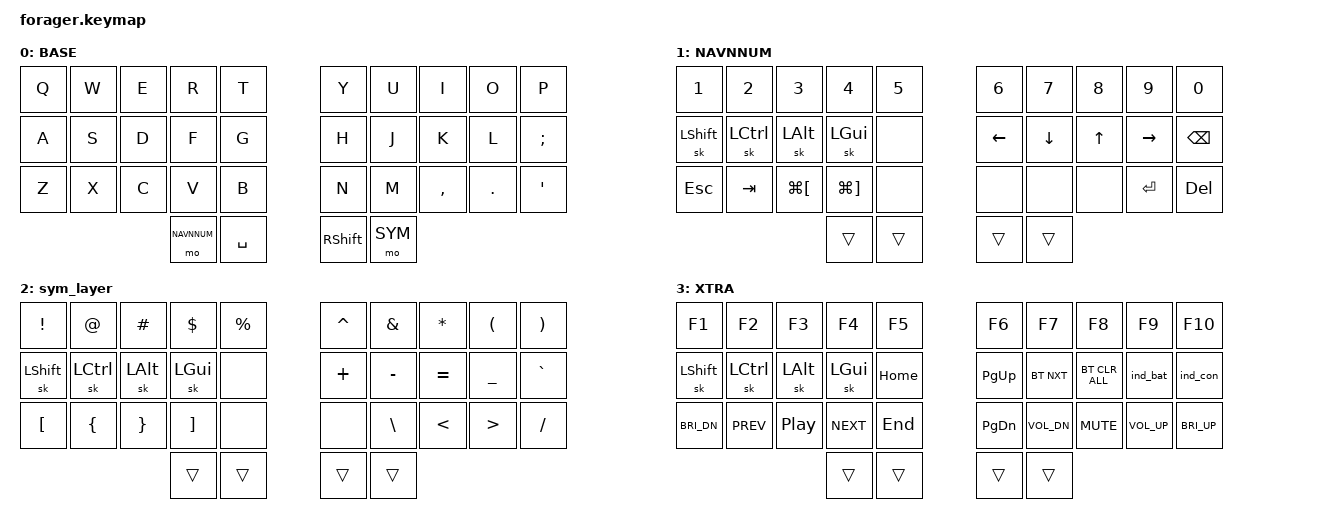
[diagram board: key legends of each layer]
#include <behaviors.dtsi>
#include <dt-bindings/zmk/keys.h>
#include <dt-bindings/zmk/bt.h>
#include <dt-bindings/zmk/outputs.h>
#include <behaviors/rgbled_widget.dtsi>

#define BASE    0
#define NAVNNUM 1
#define SYM     2
#define XTRA    3

#define BACK LG(LBKT)
#define FWD LG(RBKT)

&sk {
    release-after-ms = <300>;
    quick-release;
};

/ {
    conditional_layers {
        compatible = "zmk,conditional-layers";
        tri_layer {
            if-layers = <NAVNNUM SYM>;
            then-layer = <XTRA>;
        };
    };

    keymap {
        compatible = "zmk,keymap";
        base_layer {
            label = "BASE";
            bindings = <
                &kp Q           &kp W           &kp E           &kp R           &kp T           &kp Y       &kp U           &kp I           &kp O       &kp P
                &kp A           &kp S           &kp D           &kp F           &kp G           &kp H       &kp J           &kp K           &kp L       &kp SEMI
                &kp Z           &kp X           &kp C           &kp V           &kp B           &kp N       &kp M           &kp COMMA       &kp DOT     &kp SQT
                                                                &mo NAVNNUM     &kp SPACE       &kp RSHFT   &mo SYM
            >;
        };

        nav_n_num_layer {
            label = "NAVNNUM";
            bindings = <
                &kp N1          &kp N2          &kp N3          &kp N4          &kp N5          &kp N6      &kp N7          &kp N8          &kp N9      &kp N0
                &sk LSHFT       &sk LCTRL       &sk LALT        &sk LGUI        &none           &kp LEFT    &kp DOWN        &kp UP          &kp RIGHT   &kp BSPC
                &kp ESC         &kp TAB         &kp BACK        &kp FWD         &none           &none       &none           &none           &kp RET     &kp DEL
                                                                &trans          &trans          &trans      &trans
            >;
        };

        sym_layer {
            bindings = <
                &kp EXCL        &kp AT          &kp HASH        &kp DLLR        &kp PRCNT       &kp CARET   &kp AMPS        &kp ASTRK       &kp LPAR    &kp RPAR
                &sk LSHFT       &sk LCTRL       &sk LALT        &sk LGUI        &none           &kp PLUS    &kp MINUS       &kp EQUAL       &kp UNDER   &kp GRAVE
                &kp LBKT        &kp LBRC        &kp RBRC        &kp RBKT        &none           &none       &kp BSLH        &kp LT          &kp GT      &kp FSLH
                                                                &trans          &trans          &trans      &trans
            >;
        };

        xtra_layer {
            label = "XTRA"; 
            bindings = <
                &kp F1          &kp F2          &kp F3          &kp F4          &kp F5          &kp F6      &kp F7          &kp F8          &kp F9          &kp F10
                &sk LSHFT       &sk LCTRL       &sk LALT        &sk LGUI        &kp HOME        &kp PG_UP   &bt BT_NXT      &bt BT_CLR_ALL  &ind_bat        &ind_con
                &kp C_BRI_DN    &kp C_PREV      &kp C_PP        &kp C_NEXT      &kp END         &kp PG_DN   &kp C_VOL_DN    &kp C_MUTE      &kp C_VOL_UP    &kp C_BRI_UP
                                                                &trans          &trans          &trans      &trans
            >;
        };
    };
};
